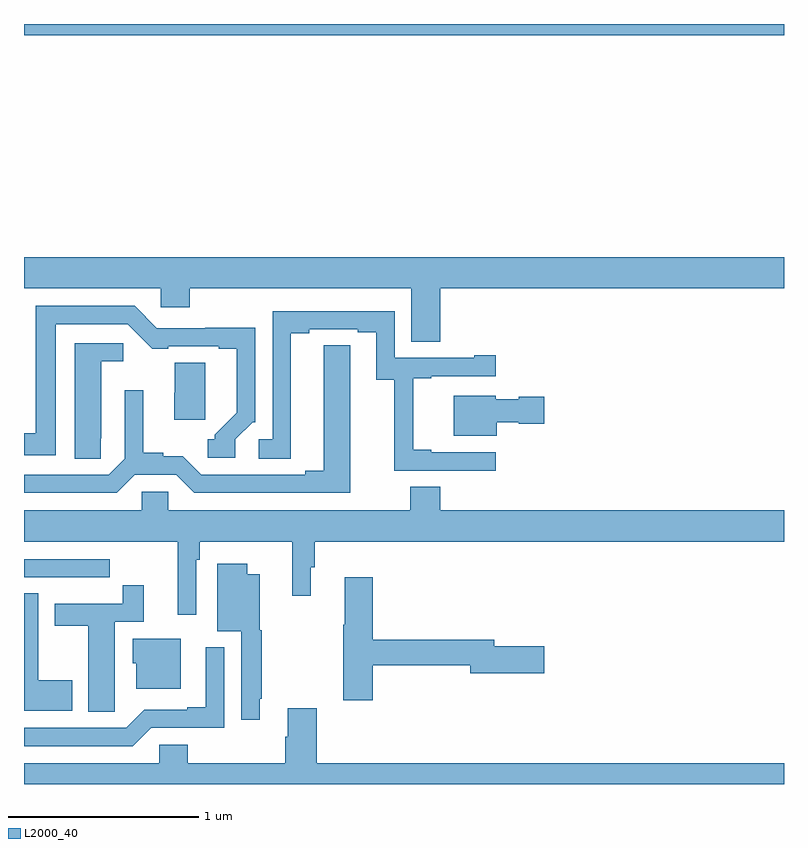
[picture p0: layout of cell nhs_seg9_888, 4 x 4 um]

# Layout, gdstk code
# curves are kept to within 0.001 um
import gdstk
lib = gdstk.Library(unit=1e-6, precision=1e-09)
def R(c, l, rs):  # rectangles x0, y0, x1, y1
    for r in rs: c.add(gdstk.rectangle(r[:2], r[2:], *l))
def P(c, l, *ps):  # polygons
    for p in ps: c.add(gdstk.Polygon(p, *l))
L2000_40 = (2000, 40)

nhs_seg9_888 = lib.new_cell('nhs_seg9_888')
R(nhs_seg9_888, L2000_40, [(159,1176.44,163,1176.5)])
P(nhs_seg9_888, L2000_40, [(161.192,1175.108),(163,1175.108),(163,1175.272),(159,1175.272),(159,1175.108),(159.72,1175.108),(159.72,1175.01),(159.872,1175.01),(159.872,1175.108),(161.039,1175.108),(161.039,1174.828),(161.192,1174.828)],
  [(160.113,1174.314),(160.203,1174.404),(160.218,1174.404),(160.218,1174.901),(159.955,1174.901),(159.955,1174.899),(159.699,1174.899),(159.582,1175.016),(159.062,1175.016),(159.062,1174.346),(159,1174.346),(159,1174.23),(159.166,1174.23),(159.166,1174.92),(159.546,1174.92),(159.674,1174.792),(159.76,1174.792),(159.76,1174.803),(160.025,1174.803),(160.025,1174.791),(160.121,1174.791),(160.121,1174.454),(160.005,1174.338),(160.005,1174.314),(159.966,1174.314),(159.966,1174.218),(160.113,1174.218)],
  [(161.482,1174.245),(161.143,1174.245),(161.143,1174.258),(161.048,1174.258),(161.048,1174.635),(161.143,1174.635),(161.143,1174.647),(161.482,1174.647),(161.482,1174.756),(161.369,1174.756),(161.369,1174.743),(160.95,1174.743),(160.95,1174.989),(160.308,1174.989),(160.308,1174.314),(160.236,1174.314),(160.236,1174.213),(160.405,1174.213),(160.405,1174.873),(160.501,1174.873),(160.501,1174.893),(160.757,1174.893),(160.757,1174.878),(160.853,1174.878),(160.853,1174.627),(160.948,1174.627),(160.948,1174.149),(161.482,1174.149)],
  [(159.405,1174.321),(159.406,1174.321),(159.406,1174.724),(159.523,1174.724),(159.523,1174.821),(159.266,1174.821),(159.266,1174.213),(159.405,1174.213)],
  [(159.583,1174.128),(159.801,1174.128),(159.897,1174.032),(160.717,1174.032),(160.716,1174.808),(160.577,1174.808),(160.577,1174.148),(160.481,1174.148),(160.481,1174.128),(159.933,1174.128),(159.836,1174.226),(159.732,1174.226),(159.732,1174.244),(159.628,1174.244),(159.628,1174.573),(159.531,1174.573),(159.531,1174.212),(159.447,1174.128),(159,1174.128),(159,1174.032),(159.487,1174.032)],
  [(159.955,1174.718),(159.793,1174.718),(159.793,1174.56),(159.791,1174.56),(159.791,1174.416),(159.955,1174.416)],
  [(161.488,1174.403),(161.604,1174.403),(161.604,1174.396),(161.737,1174.396),(161.737,1174.538),(161.604,1174.538),(161.604,1174.525),(161.484,1174.525),(161.484,1174.543),(161.261,1174.543),(161.261,1174.334),(161.488,1174.334)],
  [(159.906,1173.68),(159.926,1173.68),(159.926,1173.776),(160.411,1173.776),(160.411,1173.492),(160.51,1173.492),(160.51,1173.642),(160.529,1173.642),(160.529,1173.776),(163,1173.776),(163,1173.94),(161.192,1173.94),(161.192,1174.064),(161.032,1174.064),(161.032,1173.94),(159.759,1173.94),(159.759,1174.038),(159.621,1174.038),(159.621,1173.94),(159,1173.94),(159,1173.776),(159.809,1173.776),(159.809,1173.39),(159.906,1173.39)],
  [(159.338,1173.588),(159.451,1173.588),(159.451,1173.684),(159,1173.684),(159,1173.588),(159.172,1173.588),(159.172,1173.587),(159.338,1173.587)],
  [(160.24,1172.95),(160.252,1172.95),(160.252,1173.309),(160.24,1173.309),(160.24,1173.604),(160.174,1173.604),(160.174,1173.658),(160.016,1173.658),(160.016,1173.305),(160.143,1173.305),(160.143,1172.838),(160.24,1172.838)],
  [(160.835,1173.124),(161.348,1173.124),(161.348,1173.082),(161.737,1173.082),(161.737,1173.224),(161.476,1173.224),(161.476,1173.26),(160.835,1173.26),(160.835,1173.589),(160.688,1173.589),(160.688,1173.337),(160.681,1173.337),(160.681,1172.94),(160.835,1172.94)],
  [(159.477,1172.992),(159.478,1172.992),(159.478,1173.354),(159.629,1173.354),(159.629,1173.547),(159.52,1173.547),(159.52,1173.45),(159.161,1173.45),(159.161,1173.334),(159.338,1173.334),(159.338,1172.881),(159.477,1172.881)],
  [(159.253,1173.045),(159.076,1173.045),(159.076,1173.503),(159,1173.503),(159,1172.885),(159.253,1172.885)],
  [(159.826,1173.265),(159.572,1173.265),(159.572,1173.135),(159.59,1173.135),(159.59,1173.002),(159.826,1173.002)],
  [(159.669,1172.796),(160.053,1172.796),(160.053,1173.22),(159.956,1173.22),(159.956,1172.905),(159.86,1172.905),(159.86,1172.892),(159.633,1172.892),(159.537,1172.796),(159,1172.796),(159,1172.7),(159.573,1172.7)],
  [(163,1172.608),(160.541,1172.608),(160.541,1172.899),(160.388,1172.899),(160.388,1172.75),(160.376,1172.75),(160.376,1172.608),(159.863,1172.608),(159.863,1172.706),(159.711,1172.706),(159.711,1172.608),(159,1172.608),(159,1172.5),(163,1172.5)])

lib.write_gds('nhs_seg9_888.gds')
